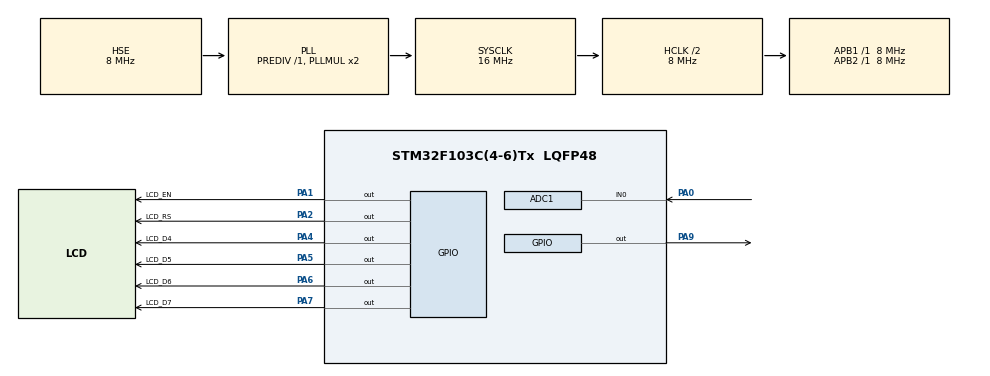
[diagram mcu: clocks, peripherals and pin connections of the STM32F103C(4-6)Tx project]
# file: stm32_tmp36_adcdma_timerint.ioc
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ADC1.Channel-0\#ChannelRegularConversion=ADC_CHANNEL_0
ADC1.ContinuousConvMode=ENABLE
ADC1.NbrOfConversionFlag=1
ADC1.Rank-0\#ChannelRegularConversion=1
ADC1.SamplingTime-0\#ChannelRegularConversion=ADC_SAMPLETIME_1CYCLE_5
ADC1.master=1
Dma.ADC1.0.Direction=DMA_PERIPH_TO_MEMORY
Dma.ADC1.0.Instance=DMA1_Channel1
Dma.ADC1.0.MemDataAlignment=DMA_MDATAALIGN_HALFWORD
Dma.ADC1.0.MemInc=DMA_MINC_ENABLE
Dma.ADC1.0.Mode=DMA_CIRCULAR
Dma.ADC1.0.PeriphDataAlignment=DMA_PDATAALIGN_HALFWORD
Dma.ADC1.0.PeriphInc=DMA_PINC_DISABLE
Dma.ADC1.0.Priority=DMA_PRIORITY_LOW
Dma.Request0=ADC1
Mcu.Family=STM32F1
Mcu.Name=STM32F103C(4-6)Tx
Mcu.Package=LQFP48
NVIC.DMA1_Channel1_IRQn=true\:0\:0\:false\:false\:true\:false\:true\:true
NVIC.PriorityGroup=NVIC_PRIORITYGROUP_4
NVIC.TIM2_IRQn=true\:0\:0\:false\:false\:true\:true\:true\:true
NVIC.TIM3_IRQn=true\:0\:0\:false\:false\:true\:true\:true\:true
PA0-WKUP.Signal=ADCx_IN0
PA1.GPIO_Label=LCD_EN
PA1.Signal=GPIO_Output
PA13.Mode=Serial_Wire
PA13.Signal=SYS_JTMS-SWDIO
PA14.Mode=Serial_Wire
PA14.Signal=SYS_JTCK-SWCLK
PA2.GPIO_Label=LCD_RS
PA2.Signal=GPIO_Output
PA4.GPIO_Label=LCD_D4
PA4.Signal=GPIO_Output
PA5.GPIO_Label=LCD_D5
PA5.Signal=GPIO_Output
PA6.GPIO_Label=LCD_D6
PA6.Signal=GPIO_Output
PA7.GPIO_Label=LCD_D7
PA7.Signal=GPIO_Output
PA9.Signal=GPIO_Output
PD0-OSC_IN.Mode=HSE-External-Oscillator
PD0-OSC_IN.Signal=RCC_OSC_IN
PD1-OSC_OUT.Mode=HSE-External-Oscillator
PD1-OSC_OUT.Signal=RCC_OSC_OUT
ProjectManager.HeapSize=0x200
ProjectManager.StackSize=0x400
ProjectManager.TargetToolchain=STM32CubeIDE
RCC.AHBCLKDivider=RCC_SYSCLK_DIV2
RCC.AHBFreq_Value=8000000
RCC.APB1Freq_Value=8000000
RCC.APB1TimFreq_Value=8000000
RCC.APB2Freq_Value=8000000
RCC.APB2TimFreq_Value=8000000
RCC.HCLKFreq_Value=8000000
RCC.PLLSourceVirtual=RCC_PLLSOURCE_HSE
RCC.SYSCLKFreq_VALUE=16000000
RCC.SYSCLKSource=RCC_SYSCLKSOURCE_PLLCLK
RCC.USBFreq_Value=16000000
SH.ADCx_IN0.0=ADC1_IN0,IN0
TIM2.AutoReloadPreload=TIM_AUTORELOAD_PRELOAD_DISABLE
TIM2.Period=99
TIM2.Prescaler=799
TIM2.TIM_MasterSlaveMode=TIM_MASTERSLAVEMODE_DISABLE
TIM3.Period=499
TIM3.Prescaler=7999
VP_TIM2_VS_ClockSourceINT.Mode=Internal
VP_TIM3_VS_ClockSourceINT.Mode=Internal
board=custom

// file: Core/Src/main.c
/* USER CODE BEGIN Header */
/**
  ******************************************************************************
  * @file           : main.c
  * @brief          : Main program body
  ******************************************************************************
  * @attention
  *
  * Copyright (c) 2024 STMicroelectronics.
  * All rights reserved.
  *
  * This software is licensed under terms that can be found in the LICENSE file
  * in the root directory of this software component.
  * If no LICENSE file comes with this software, it is provided AS-IS.
  *
  ******************************************************************************
  */
/* USER CODE END Header */
#include "main.h"

/* USER CODE BEGIN Includes */

#include "stdio.h"
#include "string.h"
#include "stdint.h"
#include "LCD.h"

uint32_t adc_buffer[1];
uint32_t print_adc_value;
uint32_t print_adc_value_tim;

char msg[50];
float voltage_vm = 0;
float temperature_c = 0;

char *printString = "Hello Eren";

/* USER CODE END Includes */

ADC_HandleTypeDef hadc1;
DMA_HandleTypeDef hdma_adc1;

TIM_HandleTypeDef htim2;
TIM_HandleTypeDef htim3;

void SystemClock_Config(void);
static void MX_GPIO_Init(void);
static void MX_DMA_Init(void);
static void MX_ADC1_Init(void);
static void MX_TIM2_Init(void);
static void MX_TIM3_Init(void);

int main(void)
{

  /* MCU Configuration--------------------------------------------------------*/

  /* Reset of all peripherals, Initializes the Flash interface and the Systick. */
  HAL_Init();

  /* Configure the system clock */
  SystemClock_Config();

  /* Initialize all configured peripherals */
  MX_GPIO_Init();
  MX_DMA_Init();
  MX_ADC1_Init();
  MX_TIM2_Init();
  MX_TIM3_Init();
  /* USER CODE BEGIN 2 */

  lcd_init(_LCD_4BIT, _LCD_FONT_5x8, _LCD_2LINE);
  lcd_cmd(_LCD_INIT);

  HAL_ADC_Start_DMA(&hadc1, adc_buffer,1);
  HAL_TIM_Base_Start_IT(&htim2);
  HAL_TIM_Base_Start_IT(&htim3);

  /* USER CODE END 2 */

  /* Infinite loop */
  while (1)
  {

    /* USER CODE BEGIN 3 */
	  voltage_vm = (print_adc_value / 4096.0) * 5;
	  temperature_c = ((voltage_vm * 1000.0) - 500.0) / 10.0;

	  sprintf(msg,"Temp: %.1f",temperature_c);

	  lcd_print(1,1,msg);

  }
  /* USER CODE END 3 */
}

void SystemClock_Config(void)
{
  RCC_OscInitTypeDef RCC_OscInitStruct = {0};
  RCC_ClkInitTypeDef RCC_ClkInitStruct = {0};
  RCC_PeriphCLKInitTypeDef PeriphClkInit = {0};

  /** Initializes the RCC Oscillators according to the specified parameters
  * in the RCC_OscInitTypeDef structure.
  */
  RCC_OscInitStruct.OscillatorType = RCC_OSCILLATORTYPE_HSE;
  RCC_OscInitStruct.HSEState = RCC_HSE_ON;
  RCC_OscInitStruct.HSEPredivValue = RCC_HSE_PREDIV_DIV1;
  RCC_OscInitStruct.HSIState = RCC_HSI_ON;
  RCC_OscInitStruct.PLL.PLLState = RCC_PLL_ON;
  RCC_OscInitStruct.PLL.PLLSource = RCC_PLLSOURCE_HSE;
  RCC_OscInitStruct.PLL.PLLMUL = RCC_PLL_MUL2;
  if (HAL_RCC_OscConfig(&RCC_OscInitStruct) != HAL_OK)
  {
    Error_Handler();
  }

  /** Initializes the CPU, AHB and APB buses clocks
  */
  RCC_ClkInitStruct.ClockType = RCC_CLOCKTYPE_HCLK|RCC_CLOCKTYPE_SYSCLK
                              |RCC_CLOCKTYPE_PCLK1|RCC_CLOCKTYPE_PCLK2;
  RCC_ClkInitStruct.SYSCLKSource = RCC_SYSCLKSOURCE_PLLCLK;
  RCC_ClkInitStruct.AHBCLKDivider = RCC_SYSCLK_DIV2;
  RCC_ClkInitStruct.APB1CLKDivider = RCC_HCLK_DIV1;
  RCC_ClkInitStruct.APB2CLKDivider = RCC_HCLK_DIV1;

  if (HAL_RCC_ClockConfig(&RCC_ClkInitStruct, FLASH_LATENCY_0) != HAL_OK)
  {
    Error_Handler();
  }
  PeriphClkInit.PeriphClockSelection = RCC_PERIPHCLK_ADC;
  PeriphClkInit.AdcClockSelection = RCC_ADCPCLK2_DIV2;
  if (HAL_RCCEx_PeriphCLKConfig(&PeriphClkInit) != HAL_OK)
  {
    Error_Handler();
  }
}

static void MX_ADC1_Init(void)
{

  ADC_ChannelConfTypeDef sConfig = {0};

  /** Common config
  */
  hadc1.Instance = ADC1;
  hadc1.Init.ScanConvMode = ADC_SCAN_DISABLE;
  hadc1.Init.ContinuousConvMode = ENABLE;
  hadc1.Init.DiscontinuousConvMode = DISABLE;
  hadc1.Init.ExternalTrigConv = ADC_SOFTWARE_START;
  hadc1.Init.DataAlign = ADC_DATAALIGN_RIGHT;
  hadc1.Init.NbrOfConversion = 1;
  if (HAL_ADC_Init(&hadc1) != HAL_OK)
  {
    Error_Handler();
  }

  /** Configure Regular Channel
  */
  sConfig.Channel = ADC_CHANNEL_0;
  sConfig.Rank = ADC_REGULAR_RANK_1;
  sConfig.SamplingTime = ADC_SAMPLETIME_1CYCLE_5;
  if (HAL_ADC_ConfigChannel(&hadc1, &sConfig) != HAL_OK)
  {
    Error_Handler();
  }

}

static void MX_TIM2_Init(void)
{

  TIM_ClockConfigTypeDef sClockSourceConfig = {0};
  TIM_MasterConfigTypeDef sMasterConfig = {0};

  htim2.Instance = TIM2;
  htim2.Init.Prescaler = 799;
  htim2.Init.CounterMode = TIM_COUNTERMODE_UP;
  htim2.Init.Period = 99;
  htim2.Init.ClockDivision = TIM_CLOCKDIVISION_DIV1;
  htim2.Init.AutoReloadPreload = TIM_AUTORELOAD_PRELOAD_DISABLE;
  if (HAL_TIM_Base_Init(&htim2) != HAL_OK)
  {
    Error_Handler();
  }
  sClockSourceConfig.ClockSource = TIM_CLOCKSOURCE_INTERNAL;
  if (HAL_TIM_ConfigClockSource(&htim2, &sClockSourceConfig) != HAL_OK)
  {
    Error_Handler();
  }
  sMasterConfig.MasterOutputTrigger = TIM_TRGO_RESET;
  sMasterConfig.MasterSlaveMode = TIM_MASTERSLAVEMODE_DISABLE;
  if (HAL_TIMEx_MasterConfigSynchronization(&htim2, &sMasterConfig) != HAL_OK)
  {
    Error_Handler();
  }

}

static void MX_TIM3_Init(void)
{

  TIM_ClockConfigTypeDef sClockSourceConfig = {0};
  TIM_MasterConfigTypeDef sMasterConfig = {0};

  htim3.Instance = TIM3;
  htim3.Init.Prescaler = 7999;
  htim3.Init.CounterMode = TIM_COUNTERMODE_UP;
  htim3.Init.Period = 499;
  htim3.Init.ClockDivision = TIM_CLOCKDIVISION_DIV1;
  htim3.Init.AutoReloadPreload = TIM_AUTORELOAD_PRELOAD_DISABLE;
  if (HAL_TIM_Base_Init(&htim3) != HAL_OK)
  {
    Error_Handler();
  }
  sClockSourceConfig.ClockSource = TIM_CLOCKSOURCE_INTERNAL;
  if (HAL_TIM_ConfigClockSource(&htim3, &sClockSourceConfig) != HAL_OK)
  {
    Error_Handler();
  }
  sMasterConfig.MasterOutputTrigger = TIM_TRGO_RESET;
  sMasterConfig.MasterSlaveMode = TIM_MASTERSLAVEMODE_DISABLE;
  if (HAL_TIMEx_MasterConfigSynchronization(&htim3, &sMasterConfig) != HAL_OK)
  {
    Error_Handler();
  }

}

static void MX_DMA_Init(void)
{

  /* DMA controller clock enable */
  __HAL_RCC_DMA1_CLK_ENABLE();

  /* DMA interrupt init */
  /* DMA1_Channel1_IRQn interrupt configuration */
  HAL_NVIC_SetPriority(DMA1_Channel1_IRQn, 0, 0);
  HAL_NVIC_EnableIRQ(DMA1_Channel1_IRQn);

}

static void MX_GPIO_Init(void)
{
  GPIO_InitTypeDef GPIO_InitStruct = {0};

  /* GPIO Ports Clock Enable */
  __HAL_RCC_GPIOD_CLK_ENABLE();
  __HAL_RCC_GPIOA_CLK_ENABLE();

  /*Configure GPIO pin Output Level */
  HAL_GPIO_WritePin(GPIOA, LCD_EN_Pin|LCD_RS_Pin|LCD_D4_Pin|LCD_D5_Pin
                          |LCD_D6_Pin|LCD_D7_Pin|GPIO_PIN_9, GPIO_PIN_RESET);

  /*Configure GPIO pins : LCD_EN_Pin LCD_RS_Pin LCD_D4_Pin LCD_D5_Pin
                           LCD_D6_Pin LCD_D7_Pin PA9 */
  GPIO_InitStruct.Pin = LCD_EN_Pin|LCD_RS_Pin|LCD_D4_Pin|LCD_D5_Pin
                          |LCD_D6_Pin|LCD_D7_Pin|GPIO_PIN_9;
  GPIO_InitStruct.Mode = GPIO_MODE_OUTPUT_PP;
  GPIO_InitStruct.Pull = GPIO_NOPULL;
  GPIO_InitStruct.Speed = GPIO_SPEED_FREQ_LOW;
  HAL_GPIO_Init(GPIOA, &GPIO_InitStruct);

}

/* USER CODE BEGIN 4 */

void HAL_ADC_ConvCpltCallback(ADC_HandleTypeDef* hadc)
{
	if(hadc->Instance == ADC1)
	{
		print_adc_value = adc_buffer[0];
		HAL_ADC_Stop_DMA(&hadc1);
	}

}

void HAL_TIM_PeriodElapsedCallback(TIM_HandleTypeDef *htim)
{
	if(htim->Instance == TIM2)
	{
		HAL_ADC_Start_DMA(&hadc1, adc_buffer, 1);
	}

	if(htim->Instance == TIM3)
	{
		HAL_GPIO_TogglePin(GPIOA,GPIO_PIN_9);
	}
}

//void HAL_TIM_PeriodElapsedCallback(TIM_HandleTypeDef *htim)
//{
//	  HAL_GPIO_TogglePin(GPIOA,GPIO_PIN_9);
//}

/* USER CODE END 4 */

void Error_Handler(void)
{
  __disable_irq();
  while (1)
  {
  }
}
